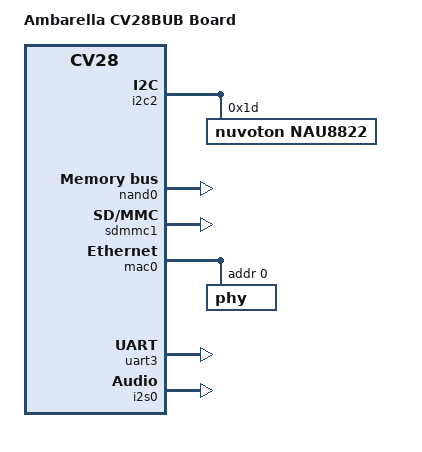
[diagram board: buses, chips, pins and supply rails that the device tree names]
/*
 * board level device tree source
 */

/dts-v1/;

/include/ "cv28.dtsi"

/ {
	model = "Ambarella CV28BUB Board";
	compatible = "ambarella,cv28bub", "ambarella,cv28";

	chosen {
		stdout-path = &uart0;
		#address-cells = <1>;
		#size-cells = <1>;
		xen,xen-bootargs = "dom0_mem=256M bootscrub=0 dom0_max_vcpus=1 dom0_vcpus_pin timer_slop=0";
		module@0 {
			 compatible = "xen,linux-zimage", "xen,multiboot-module";
			 reg = <0x0 0x0>;
			 bootargs = "root=/dev/mtdblock21 rootfstype=squashfs rdinit=/sbin/init console=hvc0 earlycon=xenboot quiet";
		};

		domu_tx {
			#address-cells = <1>;
			#size-cells = <1>;
			compatible = "xen,domain";
			memory = <0x0 0x0>;
			cpus = <1>;

			module@0 {
				compatible = "multiboot,kernel", "multiboot,module";
				reg = <0x0 0x0>;
			};
		};

	};

	n_apb@e4000000 {
        i2c2: i2c@e400a000 {
            status = "ok";
            nau8822: codec@1d {
            compatible = "nuvoton,nau8822";
            #sound-dai-cells = <0>;
            reg = <0x1d>;
            };
        };
    };


	n_ahb@e0000000 {
		nand0: nand@e0002000 {
			status = "ok";
		};

		sdmmc1: sdmmc1@e0005000 {
			pwr-gpios = <&gpio 0 0x1>;
			/*amb,fixed-cd = <1>;*/
			pinctrl-0 = <&sdmmc1_pins_4bit &sdmmc1_cd_pin>;
			status = "ok";
		};

		mac0: ethernet@e000e000 {
			amb,tx-clk-invert;
			phy@0 {
				reg = <0>;
			};
		};

		uart3: uart@e0019000 {
			pinctrl-0 = <&uart3_pins_c>;
			status = "ok";
		};

		i2s0: i2s@e001c000{
			status = "ok";
		};

		sound {
			compatible = "ambarella,audio-board";
			simple-audio-card,name = "nau8822 @ AMBEVK";
			simple-audio-card,mclk-fs = <256>;
			simple-audio-card,widgets =
			"Speaker", "Speaker",
			"Microphone", "Mic Internal";
			simple-audio-card,routing =
			"LMICN", "Mic Internal",
			"LMICP", "Mic Internal",
			"RMICP", "Mic Internal",
			"RMICP", "Mic Internal",
			"Speaker", "LSPK",
			"Speaker", "RSPK";

			simple-audio-card,dai-link@0 {
				format = "i2s";

				cpu {
					sound-dai = <&i2s0>;
				};

				codec {
					sound-dai = <&nau8822>;
				};
			};
		};
	};
};
